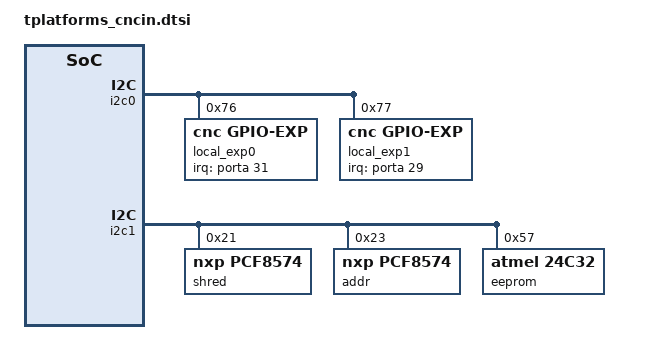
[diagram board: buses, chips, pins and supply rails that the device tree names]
/*
 * Baikal-T/T1 CNC IN board device tree
 *
 * Copyright (C) 2018 T-platforms JSC
 *
 * This program is free software; you can redistribute it and/or
 * modify it under the terms of the GNU General Public License
 * as published by the Free Software Foundation; either version 2
 * of the License, or (at your option) any later version.
 */

/ {
	/* Reserve memory regions for CMA and NTB */
	reserved-memory {
		#address-cells = <2>;
		#size-cells = <2>;
		ranges;

		/* Reserve 16MB for CMA-based allocations */
		cma: buffer@0 {
			compatible = "shared-dma-pool";
			alloc-ranges = <0 0x01000000 0 0x05000000>;
			size = <0 0x1000000>;
			alignment = <0 0x1000000>;
			reusable; /* specific for CMA */
		};
	};

	/* CNC IN board platform device */
	cnc {
		compatible = "cnc,in", "cnc,board";
		#address-cells = <1>;
		#size-cells = <0>;

		memory-region = <&cma>;
		board_info = <&shred>;
		board_addr = <&addr>;

		/* Local expanders (must always exist) */
		slave@0 {
			reg = <0>;
			dev = <&local_exp0 &local_exp1 GPIO_ACTIVE_LOW>;
		};
	};
};

&usb {
	status = "disabled";
};

&sata {
	status = "disabled";
};

&mdio0 {
	status = "disabled";
};

&xgmac {
	status = "disabled";
};

&gmac0 {
	status = "disabled";
};

&gmac1 {
	status = "disabled";
};

&i2c0 {
	status = "okay";

	local_exp0: gpioexp@76 {
		/*compatible = "nxp,pca9539";*/
		compatible = "cnc,gpio-exp";
		reg = <0x76>;
		gpio-controller;
		#gpio-cells = <2>;
		interrupt-parent = <&porta>;
		interrupts = <31 GPIO_ACTIVE_HIGH>;
		interrupt-controller;
		#interrupt-cells = <2>;
		ngpios = <16>; /* Informative */
	};

	local_exp1: gpioexp@77 {
		/*compatible = "nxp,pca9539";*/
		compatible = "cnc,gpio-exp";
		reg = <0x77>;
		gpio-controller;
		#gpio-cells = <2>;
		interrupt-parent = <&porta>;
		interrupts = <29 GPIO_ACTIVE_HIGH>;
		interrupt-controller;
		#interrupt-cells = <2>;
		ngpios = <16>; /* Informative */
	};
};

/* Board settings devices */
&i2c1 {
	status = "okay";

	shred: gpio@21 {
		compatible = "nxp,pcf8574";
		reg = <0x21>;
		gpio-controller;
		#gpio-cells = <2>;
		ngpios = <8>; /* Informative */
	};

	addr: gpio@23 {
		compatible = "nxp,pcf8574";
		reg = <0x23>;
		gpio-controller;
		#gpio-cells = <2>;
		ngpios = <8>; /* Informative */
	};

        eeprom@57 {
                compatible = "atmel,24c32";
                reg = <0x57>;
                pagesize = <16>;
        };
};

&uart1 {
	status = "disabled";
};

&spi0 {
	status = "disabled";
};

&spi1 {
	status = "disabled";
};
